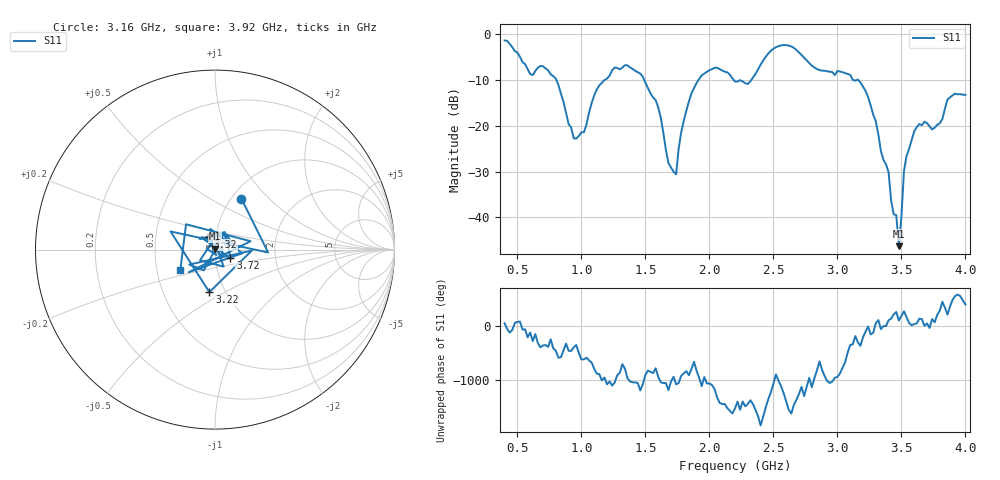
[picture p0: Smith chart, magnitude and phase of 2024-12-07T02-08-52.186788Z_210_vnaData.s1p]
!Created with skrf (http://scikit-rf.org).
# Hz S RI R 50.0
!freq ReS11 ImS11
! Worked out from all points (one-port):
!   181 points, 400 MHz to 4 GHz, reference 50 ohm
!   lowest |S11| = -46.3 dB at 3.48 GHz (marker M1), VSWR 1.01, Z = 49.8 + j0.45 ohm
!   |S11| at or under -10 dB: 804.2 MHz to 1.183 GHz (378.8 MHz wide, 38.1 % of centre); 1.49 GHz to 1.915 GHz (424.9 MHz wide, 25 % of centre); 3.162 GHz to end of sweep (the widest 3 of 5)
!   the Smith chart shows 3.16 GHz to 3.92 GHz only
!   S11 on the Smith chart (normalised r, x): 3.16 GHz: 1.11, +0.70; 3.22 GHz: 0.84, -0.42; 3.32 GHz: 0.92, +0.13; 3.72 GHz: 1.18, -0.12; 3.92 GHz: 0.66, -0.16
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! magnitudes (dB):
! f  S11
! 400 MHz  -1.4
! 600 MHz  -8.7
! 740 MHz  -7.9
! 860 MHz  -14.8
! 960 MHz  -22.8
! 1.12 GHz  -12.1
! 1.3 GHz  -7.7
! 1.46 GHz  -8.6
! 1.58 GHz  -14.4
! 1.72 GHz  -30.0
! 1.74 GHz  -30.6
! 1.76 GHz  -25.0
! 1.84 GHz  -14.7
! 1.94 GHz  -9.0
! 2.2 GHz  -10.4
! 2.66 GHz  -3.0
! 3.1 GHz  -8.9
! 3.16 GHz  -9.9
! 3.22 GHz  -12.4
! 3.32 GHz  -21.9
! 3.4 GHz  -30.2
! 3.48 GHz  -46.3
! 3.52 GHz  -29.9
! 3.56 GHz  -25.1
! 3.64 GHz  -19.6
! 3.72 GHz  -20.1
! 3.92 GHz  -13.0
! 4 GHz  -13.3
